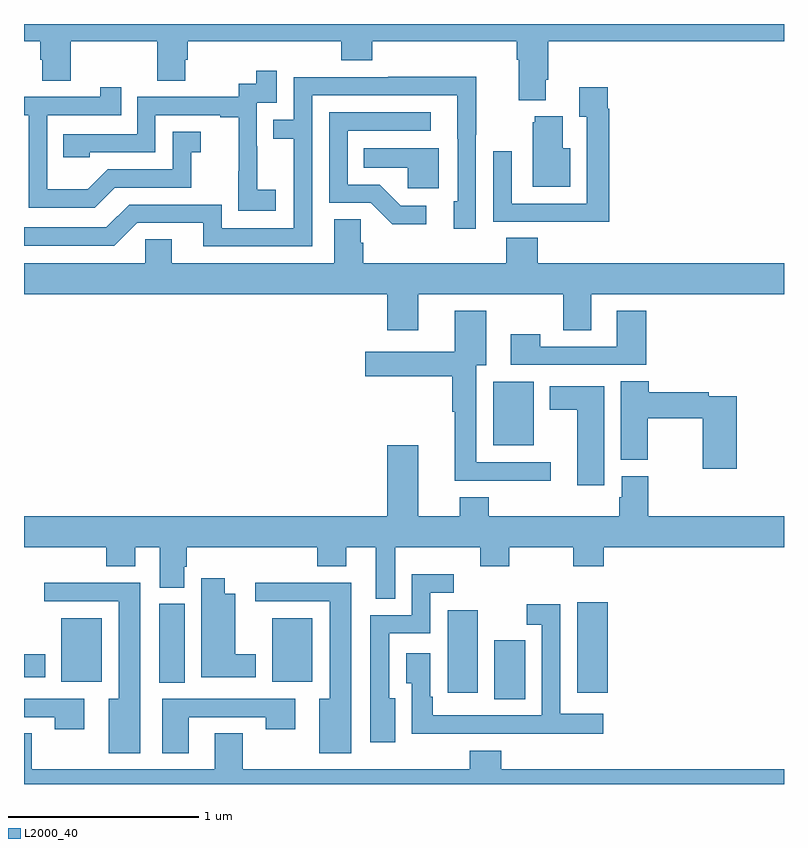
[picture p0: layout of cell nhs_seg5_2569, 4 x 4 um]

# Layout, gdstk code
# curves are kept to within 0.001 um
import gdstk
lib = gdstk.Library(unit=1e-6, precision=1e-09)
def R(c, l, rs):  # rectangles x0, y0, x1, y1
    for r in rs: c.add(gdstk.rectangle(r[:2], r[2:], *l))
def P(c, l, *ps):  # polygons
    for p in ps: c.add(gdstk.Polygon(p, *l))
L2000_40 = (2000, 40)

nhs_seg5_2569 = lib.new_cell('nhs_seg5_2569')
R(nhs_seg5_2569, L2000_40, [(261.476,905.245,261.637,905.556), (261.23,905.28,261.388,905.713), (261.911,905.28,262.072,905.755), (259.712,905.332,259.846,905.748), (259.196,905.336,259.408,905.671), (260.306,905.336,260.518,905.671), (259,905.36,259.111,905.482), (261.47,906.581,261.682,906.916)])
P(nhs_seg5_2569, L2000_40, [(261.745,908.506),(261.758,908.506),(261.758,908.708),(263,908.708),(263,908.799),(259,908.799),(259,908.708),(259.085,908.708),(259.085,908.61),(259.097,908.61),(259.097,908.5),(259.245,908.5),(259.245,908.708),(259.702,908.708),(259.702,908.5),(259.849,908.5),(259.849,908.61),(259.862,908.61),(259.862,908.708),(260.669,908.708),(260.669,908.609),(260.834,908.609),(260.834,908.708),(261.593,908.708),(261.593,908.612),(261.605,908.612),(261.605,908.399),(261.745,908.399)],
  [(260.326,907.927),(260.228,907.927),(260.228,908.156),(260.226,908.156),(260.226,908.385),(260.331,908.385),(260.331,908.554),(260.223,908.554),(260.223,908.484),(260.13,908.484),(260.13,908.415),(259.596,908.415),(259.596,908.22),(259.207,908.22),(259.207,908.097),(259.347,908.097),(259.347,908.124),(259.692,908.124),(259.692,908.319),(260.033,908.319),(260.033,908.307),(260.129,908.307),(260.129,908.023),(260.128,908.023),(260.128,907.817),(260.326,907.817)],
  [(260.517,908.424),(261.281,908.424),(261.282,907.866),(261.263,907.866),(261.263,907.722),(261.378,907.722),(261.378,908.215),(261.381,908.215),(261.381,908.522),(260.917,908.522),(260.917,908.52),(260.421,908.52),(260.421,908.295),(260.311,908.295),(260.311,908.194),(260.421,908.194),(260.421,907.725),(260.04,907.725),(260.04,907.848),(259.554,907.848),(259.434,907.728),(259,907.728),(259,907.632),(259.476,907.632),(259.596,907.752),(259.943,907.752),(259.943,907.629),(260.517,907.629)],
  [(259.477,907.938),(259.881,907.938),(259.881,908.123),(259.93,908.123),(259.93,908.233),(259.782,908.233),(259.782,908.034),(259.44,908.034),(259.336,907.93),(259.122,907.93),(259.122,908.319),(259.511,908.319),(259.511,908.467),(259.4,908.467),(259.4,908.415),(259,908.415),(259,908.319),(259.026,908.319),(259.026,907.833),(259.372,907.833)],
  [(262.079,908.354),(262.072,908.354),(262.072,908.467),(261.923,908.467),(261.923,908.311),(261.963,908.311),(261.963,907.854),(261.567,907.854),(261.567,908.128),(261.471,908.128),(261.471,907.758),(261.787,907.758),(261.787,907.757),(262.079,907.757)],
  [(261.118,907.842),(260.983,907.842),(260.872,907.953),(260.703,907.953),(260.703,908.238),(261.142,908.238),(261.142,908.334),(260.607,908.334),(260.607,907.857),(260.826,907.857),(260.939,907.745),(261.118,907.745)],
  [(261.874,908.146),(261.835,908.146),(261.835,908.314),(261.689,908.314),(261.689,908.283),(261.677,908.283),(261.677,907.943),(261.874,907.943)],
  [(261.184,908.146),(260.788,908.146),(260.788,908.042),(261.019,908.042),(261.019,907.934),(261.184,907.934)],
  [(261.985,907.376),(263,907.376),(263,907.54),(261.704,907.54),(261.704,907.673),(261.539,907.673),(261.539,907.54),(260.786,907.54),(260.786,907.649),(260.772,907.649),(260.772,907.772),(260.633,907.772),(260.633,907.54),(259.777,907.54),(259.777,907.667),(259.638,907.667),(259.638,907.54),(259,907.54),(259,907.376),(260.912,907.376),(260.912,907.188),(261.076,907.188),(261.076,907.376),(261.838,907.376),(261.838,907.186),(261.985,907.186)],
  [(262.274,907.291),(262.121,907.291),(262.121,907.101),(261.717,907.101),(261.717,907.165),(261.561,907.165),(261.561,907.005),(262.274,907.005)],
  [(261.772,906.492),(261.379,906.492),(261.379,907.004),(261.433,907.004),(261.433,907.291),(261.266,907.291),(261.266,907.075),(260.796,907.075),(260.796,906.946),(261.254,906.946),(261.254,906.757),(261.266,906.757),(261.266,906.395),(261.772,906.395)],
  [(262.751,906.84),(262.604,906.84),(262.604,906.86),(262.289,906.86),(262.289,906.92),(262.142,906.92),(262.142,906.505),(262.284,906.505),(262.284,906.724),(262.573,906.724),(262.573,906.459),(262.751,906.459)],
  [(262.054,906.892),(261.767,906.892),(261.767,906.77),(261.911,906.77),(261.911,906.372),(262.054,906.372)],
  [(260.953,906.044),(261.4,906.044),(261.4,905.945),(261.555,905.945),(261.555,906.044),(261.892,906.044),(261.892,905.945),(262.052,905.945),(262.052,906.044),(263,906.044),(263,906.208),(262.286,906.208),(262.286,906.42),(262.145,906.42),(262.145,906.309),(262.133,906.309),(262.133,906.208),(261.446,906.208),(261.446,906.307),(261.293,906.307),(261.293,906.208),(261.076,906.208),(261.076,906.583),(260.912,906.583),(260.912,906.208),(259,906.208),(259,906.044),(259.433,906.044),(259.433,905.945),(259.585,905.945),(259.585,906.044),(259.715,906.044),(259.715,905.833),(259.843,905.833),(259.843,905.943),(259.856,905.943),(259.856,906.044),(260.543,906.044),(260.543,905.945),(260.695,905.945),(260.695,906.044),(260.852,906.044),(260.852,905.773),(260.953,905.773)],
  [(260.953,905.251),(260.923,905.251),(260.923,905.592),(261.138,905.592),(261.138,905.805),(261.262,905.805),(261.262,905.902),(261.042,905.902),(261.042,905.688),(260.822,905.688),(260.822,905.019),(260.953,905.019)],
  [(260.221,905.482),(260.113,905.482),(260.113,905.8),(260.056,905.8),(260.056,905.881),(259.934,905.881),(259.934,905.36),(260.221,905.36)],
  [(259.612,905.858),(259.107,905.858),(259.107,905.76),(259.499,905.76),(259.499,905.248),(259.445,905.248),(259.445,904.962),(259.612,904.962)],
  [(260.722,905.858),(260.217,905.858),(260.217,905.76),(260.609,905.76),(260.609,905.248),(260.555,905.248),(260.555,904.962),(260.722,904.962)],
  [(261.263,905.064),(261.629,905.064),(261.629,905.063),(262.048,905.063),(262.048,905.17),(261.822,905.17),(261.822,905.746),(261.645,905.746),(261.645,905.637),(261.726,905.637),(261.726,905.16),(261.151,905.16),(261.151,905.257),(261.138,905.257),(261.138,905.488),(261.011,905.488),(261.011,905.329),(261.042,905.329),(261.042,905.063),(261.263,905.063)],
  [(259.867,905.151),(260.272,905.151),(260.272,905.088),(260.428,905.088),(260.428,905.247),(259.727,905.247),(259.727,904.962),(259.867,904.962)],
  [(259.318,905.247),(259,905.247),(259,905.151),(259.162,905.151),(259.162,905.088),(259.318,905.088)],
  [(263,904.876),(261.512,904.876),(261.512,904.975),(261.347,904.975),(261.347,904.876),(260.151,904.876),(260.151,905.066),(260.003,905.066),(260.003,904.876),(259.041,904.876),(259.041,905.066),(259,905.066),(259,904.799),(263,904.799)])

lib.write_gds('nhs_seg5_2569.gds')
